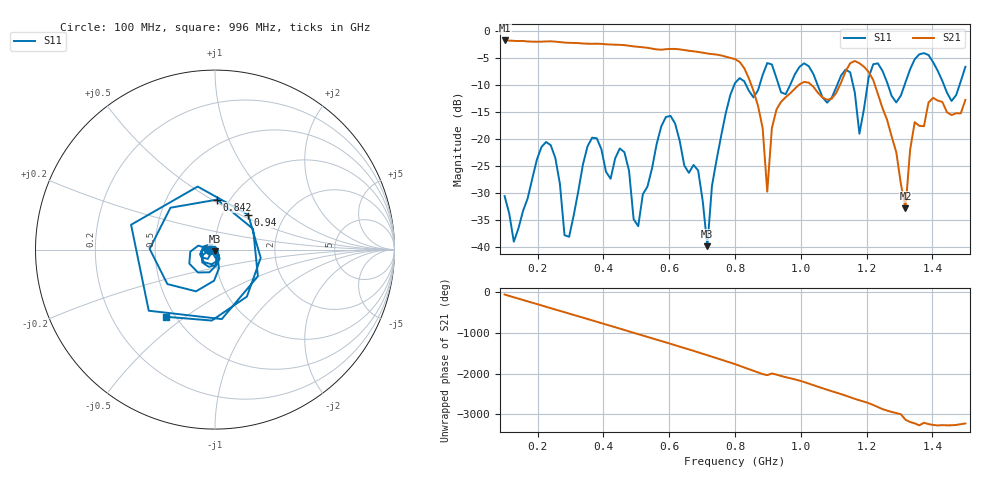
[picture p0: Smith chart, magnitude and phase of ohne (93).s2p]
! NanoVNA-App
! Date: 2025-09-25 14:21:31
! Start: 100MHz Stop: 1,5GHz Points: 101
! S-Parameter data: F S11 S21 S12 S22
# Hz S RI R 50
!  Frequency  S11_Real  S11_Imag  S21_Real  S21_Imag  S12_Real  S12_Imag  S22_Real  S22_Imag
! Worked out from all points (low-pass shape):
!   101 points, 100 MHz to 1.5 GHz, reference 50 ohm
!   highest |S21| = -1.79 dB at 100 MHz (marker M1); lowest = -32.9 dB at 1.318 GHz (marker M2)
!   |S21| within 3 dB of the highest: start of sweep to 771.4 MHz
!   lowest |S11| = -39.9 dB at 716 MHz (marker M3), VSWR 1.02, Z = 49.8 - j0.982 ohm
!   |S11| at or under -10 dB: start of sweep to 798 MHz; 833.2 MHz to 875.1 MHz (41.85 MHz wide, 4.9 % of centre); 1.051 GHz to 1.111 GHz (60.09 MHz wide, 5.56 % of centre) (the widest 3 of 7)
!   S12 and S22 are empty: the file has one direction only
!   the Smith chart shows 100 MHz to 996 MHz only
!   S11 on the Smith chart (normalised r, x): 100 MHz: 0.94, -0.01; 842 MHz: 0.88, +0.53; 940 MHz: 1.32, +0.55; 996 MHz: 0.45, -0.43
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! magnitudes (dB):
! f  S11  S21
! 100 MHz  -30.6  -1.8
! 128 MHz  -39.1  -1.9
! 226 MHz  -20.6  -2.0
! 296 MHz  -38.2  -2.2
! 338 MHz  -24.8  -2.4
! 464 MHz  -22.5  -2.7
! 506 MHz  -36.2  -3.0
! 576 MHz  -17.7  -3.5
! 688 MHz  -25.9  -3.9
! 716 MHz  -39.9  -4.2
! 800 MHz  -9.7  -5.3
! 842 MHz  -11.1  -8.8
! 898 MHz  -6.0  -29.8
! 940 MHz  -11.4  -13.2
! 996 MHz  -6.7  -9.9
! 1.038 GHz  -8.0  -10.4
! 1.178 GHz  -19.1  -6.0
! 1.22 GHz  -6.2  -9.1
! 1.276 GHz  -12.1  -19.6
! 1.318 GHz  -9.5  -32.9
! 1.346 GHz  -5.3  -16.9
! 1.5 GHz  -6.7  -12.8
